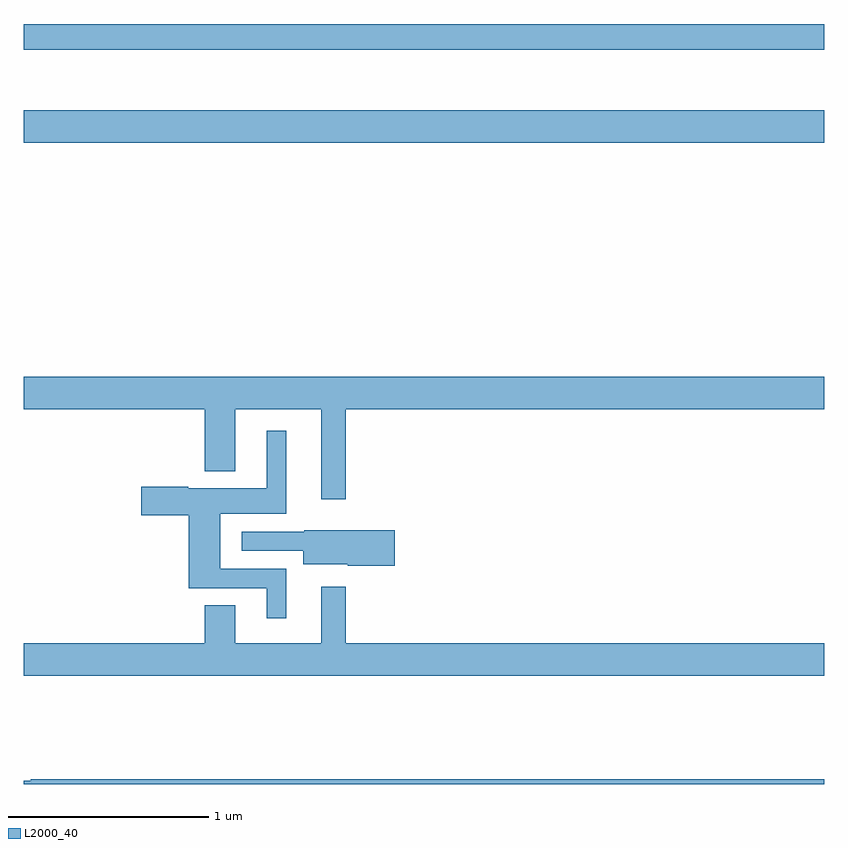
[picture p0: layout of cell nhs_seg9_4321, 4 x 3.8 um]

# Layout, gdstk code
import gdstk
lib = gdstk.Library(unit=1e-6, precision=1e-09)
def R(c, l, rs):  # rectangles x0, y0, x1, y1
    for r in rs: c.add(gdstk.rectangle(r[:2], r[2:], *l))
def P(c, l, *ps):  # polygons
    for p in ps: c.add(gdstk.Polygon(p, *l))
L2000_40 = (2000, 40)

nhs_seg9_4321 = lib.new_cell('nhs_seg9_4321')
R(nhs_seg9_4321, L2000_40, [(357,1245.704,361,1245.868), (357,1246.17,361,1246.298)])
P(nhs_seg9_4321, L2000_40, [(358.609,1244.372),(361,1244.372),(361,1244.536),(357,1244.536),(357,1244.372),(357.905,1244.372),(357.905,1244.063),(358.057,1244.063),(358.057,1244.372),(358.487,1244.372),(358.487,1243.923),(358.609,1243.923)],
  [(358.312,1243.575),(357.982,1243.575),(357.982,1243.85),(358.312,1243.85),(358.312,1244.266),(358.214,1244.266),(358.214,1243.978),(357.821,1243.978),(357.821,1243.986),(357.588,1243.986),(357.588,1243.844),(357.824,1243.844),(357.824,1243.479),(358.214,1243.479),(358.214,1243.329),(358.312,1243.329)],
  [(358.855,1243.769),(358.401,1243.769),(358.401,1243.761),(358.089,1243.761),(358.089,1243.665),(358.397,1243.665),(358.397,1243.598),(358.62,1243.598),(358.62,1243.591),(358.855,1243.591)],
  [(361,1243.204),(358.609,1243.204),(358.609,1243.486),(358.487,1243.486),(358.487,1243.204),(358.057,1243.204),(358.057,1243.394),(357.905,1243.394),(357.905,1243.204),(357,1243.204),(357,1243.04),(361,1243.04)],
  [(361,1242.524),(357.035,1242.524),(357.035,1242.517),(357,1242.517),(357,1242.5),(361,1242.5)])

lib.write_gds('nhs_seg9_4321.gds')
